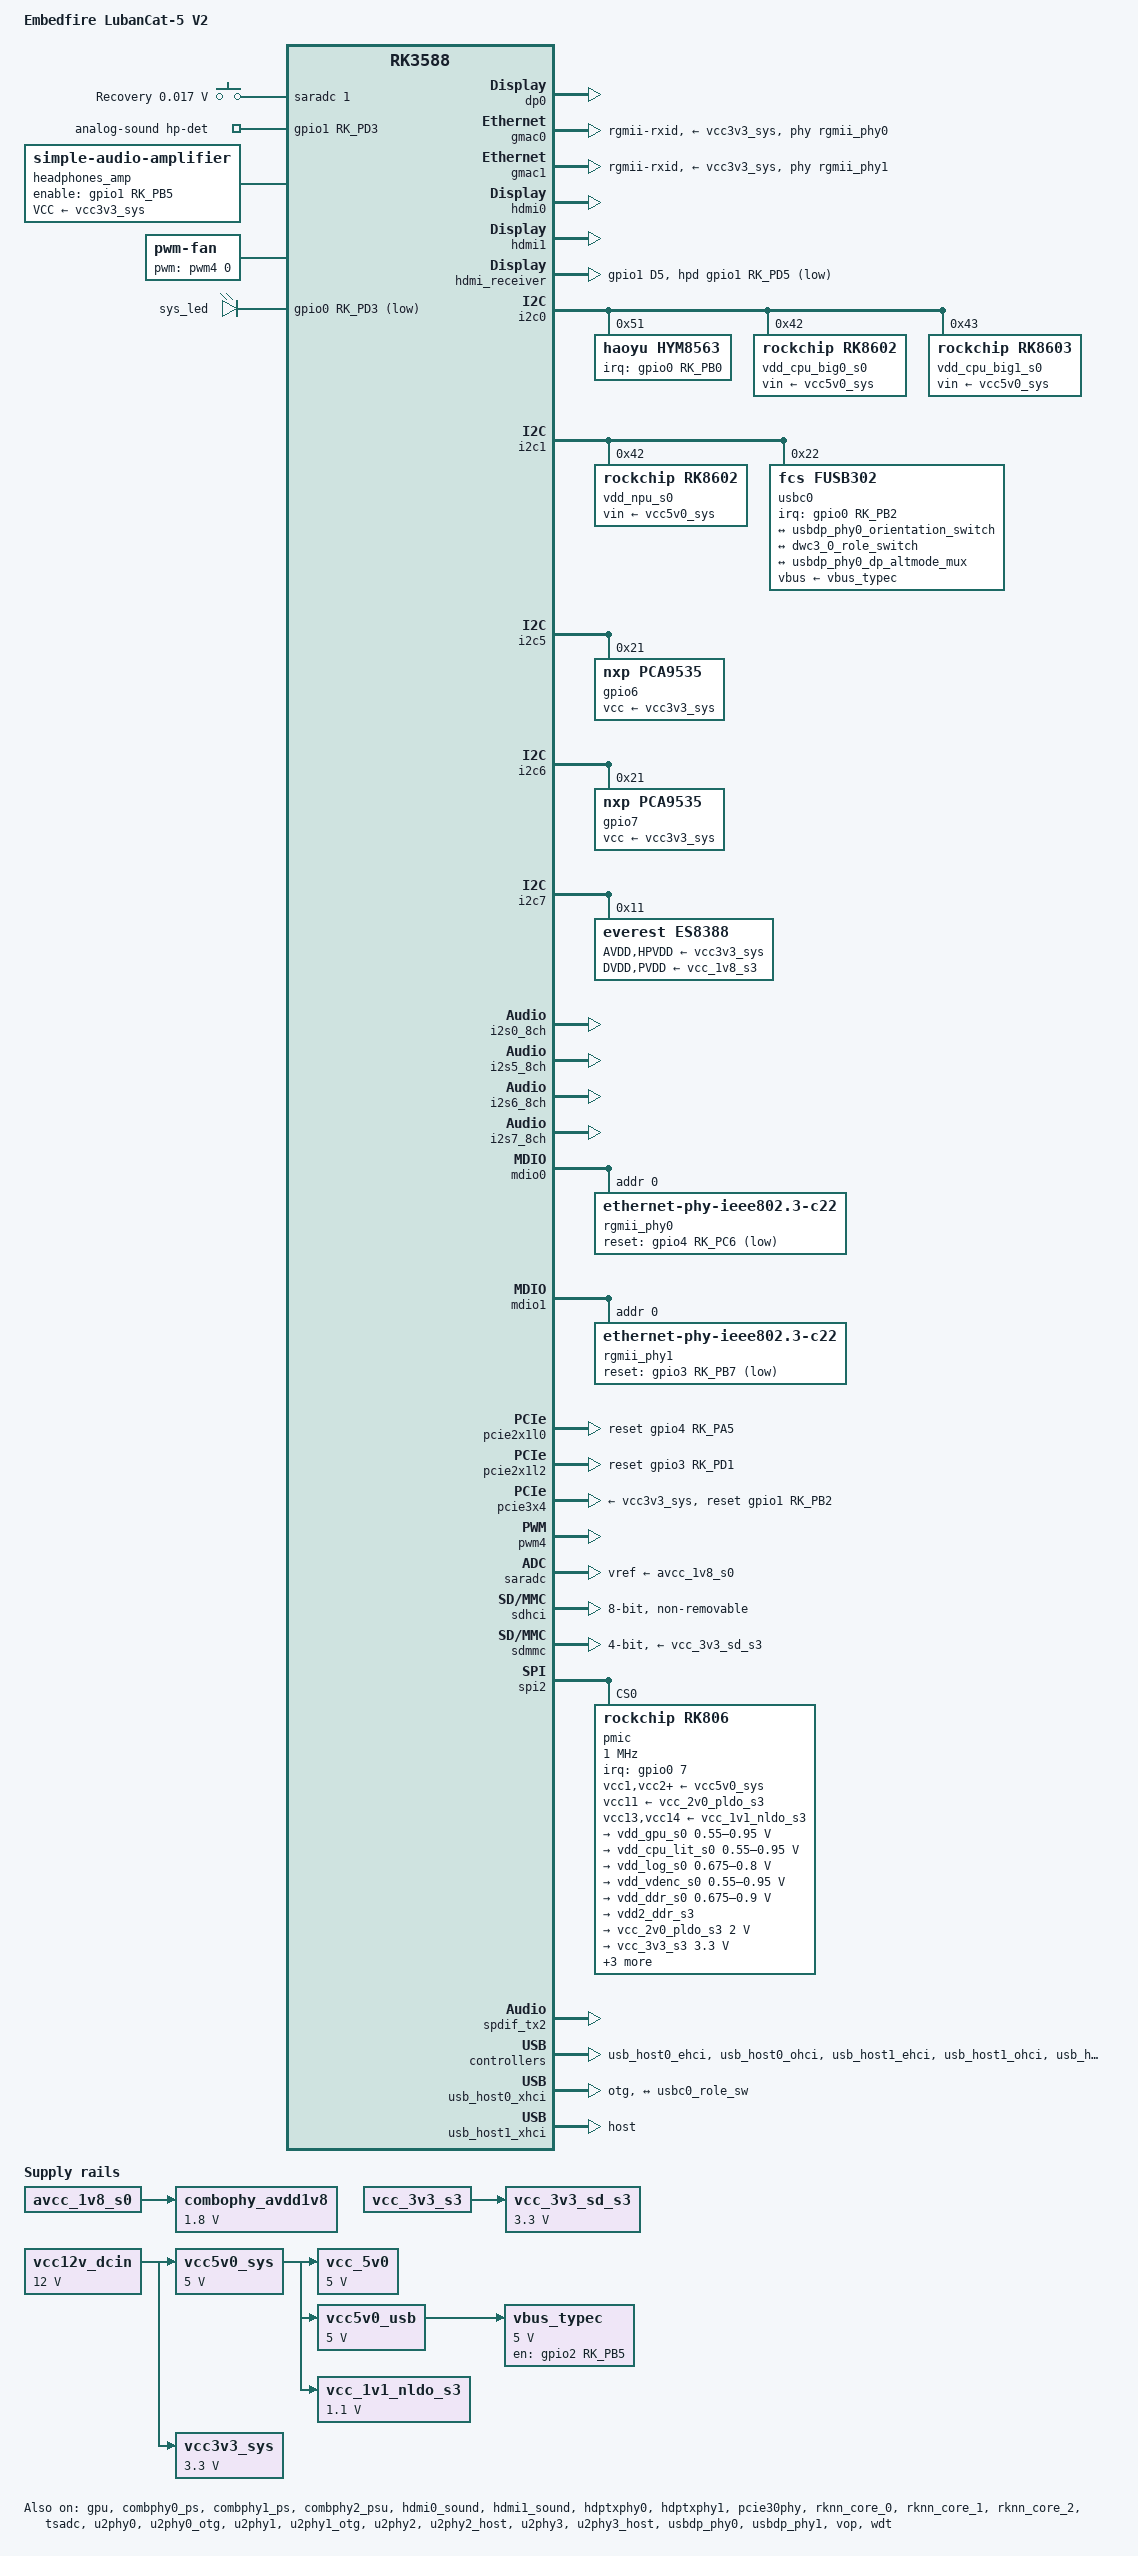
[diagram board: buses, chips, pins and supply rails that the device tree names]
// SPDX-License-Identifier: (GPL-2.0+ OR MIT)

/dts-v1/;

#include <dt-bindings/gpio/gpio.h>
#include <dt-bindings/input/input.h>
#include <dt-bindings/leds/common.h>
#include <dt-bindings/pinctrl/rockchip.h>
#include <dt-bindings/soc/rockchip,vop2.h>
#include <dt-bindings/usb/pd.h>
#include "rk3588.dtsi"

/ {
	model = "Embedfire LubanCat-5 V2";
	compatible = "embedfire,lubancat-5-v2", "rockchip,rk3588";

	aliases {
		ethernet0 = &gmac0;
		ethernet1 = &gmac1;
		mmc0 = &sdhci;
		mmc1 = &sdmmc;
	};

	chosen {
		stdout-path = "serial2:1500000n8";
	};

	adc-keys {
		compatible = "adc-keys";
		io-channels = <&saradc 1>;
		io-channel-names = "buttons";
		keyup-threshold-microvolt = <1800000>;
		poll-interval = <100>;

		button-recovery {
			label = "Recovery";
			linux,code = <KEY_VENDOR>;
			press-threshold-microvolt = <17000>;
		};
	};

	analog-sound {
		compatible = "simple-audio-card";
		pinctrl-names = "default";
		pinctrl-0 = <&hp_det>;
		simple-audio-card,aux-devs = <&headphones_amp>;
		simple-audio-card,format = "i2s";
		simple-audio-card,hp-det-gpios = <&gpio1 RK_PD3 GPIO_ACTIVE_HIGH>;
		simple-audio-card,mclk-fs = <256>;
		simple-audio-card,name = "rockchip-es8388";
		simple-audio-card,widgets =
			"Headphone", "Headphones",
			"Microphone", "Main Mic",
			"Microphone", "Headset Mic";
		simple-audio-card,routing =
			"Headphone Amp INL", "LOUT1",
			"Headphone Amp INR", "ROUT1",
			"Headphones", "Headphone Amp OUTL",
			"Headphones", "Headphone Amp OUTR",
			"LINPUT1", "Main Mic",
			"LINPUT2", "Main Mic",
			"RINPUT1", "Headset Mic",
			"RINPUT2", "Headset Mic";

		simple-audio-card,codec {
			sound-dai = <&es8388>;
		};

		simple-audio-card,cpu {
			sound-dai = <&i2s0_8ch>;
		};
	};

	headphones_amp: audio-amplifier {
		compatible = "simple-audio-amplifier";
		enable-gpios = <&gpio1 RK_PB5 GPIO_ACTIVE_HIGH>;
		pinctrl-names = "default";
		pinctrl-0 = <&hp_enable>;
		sound-name-prefix = "Headphone Amp";
		VCC-supply = <&vcc3v3_sys>;
	};

	fan: pwm-fan {
		compatible = "pwm-fan";
		#cooling-cells = <2>;
		cooling-levels = <0 100 150 200 255>;
		pwms = <&pwm4 0 50000 0>;
	};

	leds: leds {
		compatible = "gpio-leds";
		status = "okay";

		sys_led: sys-led {
			label = "sys_led";
			linux,default-trigger = "heartbeat";
			default-state = "on";
			gpios = <&gpio0 RK_PD3 GPIO_ACTIVE_LOW>;
			pinctrl-names = "default";
			pinctrl-0 = <&sys_led_pin>;
		};
	};

	vcc12v_dcin: vcc12v-dcin-regulator {
		compatible = "regulator-fixed";
		regulator-always-on;
		regulator-boot-on;
		regulator-min-microvolt = <12000000>;
		regulator-max-microvolt = <12000000>;
		regulator-name = "vcc12v_dcin";
	};

	vcc5v0_sys: vcc5v0-sys-regulator {
		compatible = "regulator-fixed";
		regulator-always-on;
		regulator-boot-on;
		regulator-min-microvolt = <5000000>;
		regulator-max-microvolt = <5000000>;
		regulator-name = "vcc5v0_sys";
		vin-supply = <&vcc12v_dcin>;
	};

	vcc3v3_sys: vcc3v3-sys-regulator {
		compatible = "regulator-fixed";
		regulator-always-on;
		regulator-boot-on;
		regulator-min-microvolt = <3300000>;
		regulator-max-microvolt = <3300000>;
		regulator-name = "vcc3v3_sys";
		vin-supply = <&vcc12v_dcin>;
	};

	vcc_5v0: vcc-5v0-regulator {
		compatible = "regulator-fixed";
		regulator-always-on;
		regulator-boot-on;
		regulator-min-microvolt = <5000000>;
		regulator-max-microvolt = <5000000>;
		regulator-name = "vcc_5v0";
		vin-supply = <&vcc5v0_sys>;
	};

	vcc5v0_usb: vcc5v0-usb-regulator {
		compatible = "regulator-fixed";
		regulator-always-on;
		regulator-boot-on;
		regulator-min-microvolt = <5000000>;
		regulator-max-microvolt = <5000000>;
		regulator-name = "vcc5v0_usb";
		vin-supply = <&vcc5v0_sys>;
	};

	combophy_avdd1v8: combophy-avdd1v8-regulator {
		compatible = "regulator-fixed";
		regulator-boot-on;
		regulator-min-microvolt = <1800000>;
		regulator-max-microvolt = <1800000>;
		regulator-name = "combophy_avdd1v8";
		vin-supply = <&avcc_1v8_s0>;
	};

	vcc_1v1_nldo_s3: vcc-1v1-nldo-s3-regulator {
		compatible = "regulator-fixed";
		regulator-always-on;
		regulator-boot-on;
		regulator-min-microvolt = <1100000>;
		regulator-max-microvolt = <1100000>;
		regulator-name = "vcc_1v1_nldo_s3";
		vin-supply = <&vcc5v0_sys>;
	};

	vcc_3v3_sd_s3: vcc-3v3-sd-s3-regulator {
		compatible = "regulator-fixed";
		regulator-always-on;
		regulator-boot-on;
		regulator-min-microvolt = <3300000>;
		regulator-max-microvolt = <3300000>;
		regulator-name = "vcc_3v3_sd_s3";
		vin-supply = <&vcc_3v3_s3>;
	};

	vbus_typec: vbus-typec-regulator {
		compatible = "regulator-fixed";
		enable-active-high;
		gpio = <&gpio2 RK_PB5 GPIO_ACTIVE_HIGH>;
		pinctrl-names = "default";
		pinctrl-0 = <&typec_vbus_en>;
		regulator-min-microvolt = <5000000>;
		regulator-max-microvolt = <5000000>;
		regulator-name = "vbus_typec";
		vin-supply = <&vcc5v0_usb>;
	};
};

&cpu_b0 {
	cpu-supply = <&vdd_cpu_big0_s0>;
};

&cpu_b1 {
	cpu-supply = <&vdd_cpu_big0_s0>;
};

&cpu_b2 {
	cpu-supply = <&vdd_cpu_big1_s0>;
};

&cpu_b3 {
	cpu-supply = <&vdd_cpu_big1_s0>;
};

&cpu_l0 {
	cpu-supply = <&vdd_cpu_lit_s0>;
};

&cpu_l1 {
	cpu-supply = <&vdd_cpu_lit_s0>;
};

&cpu_l2 {
	cpu-supply = <&vdd_cpu_lit_s0>;
};

&cpu_l3 {
	cpu-supply = <&vdd_cpu_lit_s0>;
};

&gpu {
	mali-supply = <&vdd_gpu_s0>;
	status = "okay";
};

&combphy0_ps {
	status = "okay";
};

&combphy1_ps {
	status = "okay";
};

&combphy2_psu {
	status = "okay";
};

&dp0 {
	status = "okay";
};

&dp0_in {
	dp0_in_vp1: endpoint {
		remote-endpoint = <&vp1_out_dp0>;
	};
};

&gmac0 {
	clock_in_out = "output";
	phy-handle = <&rgmii_phy0>;
	phy-mode = "rgmii-rxid";
	phy-supply = <&vcc3v3_sys>;
	pinctrl-names = "default";
	pinctrl-0 = <&gmac0_miim
		     &gmac0_tx_bus2
		     &gmac0_rx_bus2
		     &gmac0_rgmii_clk
		     &gmac0_rgmii_bus>;
	rx_delay = <0x10>;
	tx_delay = <0x20>;
	status = "okay";
};

&gmac1 {
	clock_in_out = "output";
	phy-handle = <&rgmii_phy1>;
	phy-mode = "rgmii-rxid";
	phy-supply = <&vcc3v3_sys>;
	pinctrl-names = "default";
	pinctrl-0 = <&gmac1_miim
		     &gmac1_tx_bus2
		     &gmac1_rx_bus2
		     &gmac1_rgmii_clk
		     &gmac1_rgmii_bus>;
	rx_delay = <0x10>;
	tx_delay = <0x20>;
	status = "okay";
};

&hdmi0 {
	enable-gpios = <&gpio1 RK_PC4 GPIO_ACTIVE_HIGH>;
	status = "okay";
};

&hdmi0_in {
	hdmi0_in_vp0: endpoint {
		remote-endpoint = <&vp0_out_hdmi0>;
	};
};

&hdmi0_sound {
	status = "okay";
};

&hdmi1 {
	enable-gpios = <&gpio1 RK_PC6 GPIO_ACTIVE_HIGH>;
	status = "okay";
};

&hdmi1_in {
	hdmi1_in_vp2: endpoint {
		remote-endpoint = <&vp2_out_hdmi1>;
	};
};

&hdmi1_sound {
	status = "okay";
};

&hdmi_receiver {
	hpd-gpios = <&gpio1 RK_PD5 GPIO_ACTIVE_LOW>;
	pinctrl-names = "default";
	pinctrl-0 = <&hdmim0_rx_cec &hdmim1_rx_hpdin &hdmim1_rx_scl &hdmim1_rx_sda &hdmirx_det>;
	status = "okay";
};

&hdptxphy0 {
	status = "okay";
};

&hdptxphy1 {
	status = "okay";
};

&i2c0 {
	pinctrl-names = "default";
	pinctrl-0 = <&i2c0m2_xfer>;
	status = "okay";

	hym8563: rtc@51 {
		compatible = "haoyu,hym8563";
		reg = <0x51>;
		#clock-cells = <0>;
		clock-output-names = "hym8563";
		interrupt-parent = <&gpio0>;
		interrupts = <RK_PB0 IRQ_TYPE_LEVEL_LOW>;
		pinctrl-names = "default";
		pinctrl-0 = <&hym8563_int>;
		wakeup-source;
	};

	vdd_cpu_big0_s0: regulator@42 {
		compatible = "rockchip,rk8602";
		reg = <0x42>;
		fcs,suspend-voltage-selector = <1>;
		regulator-always-on;
		regulator-boot-on;
		regulator-max-microvolt = <1050000>;
		regulator-min-microvolt = <550000>;
		regulator-name = "vdd_cpu_big0_s0";
		regulator-ramp-delay = <2300>;
		vin-supply = <&vcc5v0_sys>;

		regulator-state-mem {
			regulator-off-in-suspend;
		};
	};

	vdd_cpu_big1_s0: regulator@43 {
		compatible = "rockchip,rk8603";
		reg = <0x43>;
		fcs,suspend-voltage-selector = <1>;
		regulator-always-on;
		regulator-boot-on;
		regulator-max-microvolt = <1050000>;
		regulator-min-microvolt = <550000>;
		regulator-name = "vdd_cpu_big1_s0";
		regulator-ramp-delay = <2300>;
		vin-supply = <&vcc5v0_sys>;

		regulator-state-mem {
			regulator-off-in-suspend;
		};
	};
};

&i2c1 {
	pinctrl-names = "default";
	pinctrl-0 = <&i2c1m2_xfer>;
	status = "okay";

	vdd_npu_s0: regulator@42 {
		compatible = "rockchip,rk8602";
		reg = <0x42>;
		fcs,suspend-voltage-selector = <1>;
		regulator-name = "vdd_npu_s0";
		regulator-boot-on;
		regulator-min-microvolt = <550000>;
		regulator-max-microvolt = <950000>;
		regulator-ramp-delay = <2300>;
		vin-supply = <&vcc5v0_sys>;

		regulator-state-mem {
			regulator-off-in-suspend;
		};
	};

	usbc0: typec-portc@22 {
		compatible = "fcs,fusb302";
		reg = <0x22>;
		interrupt-parent = <&gpio0>;
		interrupts = <RK_PB2 IRQ_TYPE_LEVEL_LOW>;
		pinctrl-names = "default";
		pinctrl-0 = <&fusb302_int>;
		vbus-supply = <&vbus_typec>;
		status = "okay";

		usb_con: connector {
			compatible = "usb-c-connector";
			data-role = "dual";
			label = "USB-C";
			op-sink-microwatt = <1000000>;
			power-role = "dual";
			sink-pdos =
				<PDO_FIXED(5000, 1000, PDO_FIXED_USB_COMM)>;
			source-pdos =
				<PDO_FIXED(5000, 3000, PDO_FIXED_USB_COMM)>;
			try-power-role = "sink";

			ports {
				#address-cells = <1>;
				#size-cells = <0>;

				port@0 {
					reg = <0>;
					usbc0_orien_sw: endpoint {
						remote-endpoint = <&usbdp_phy0_orientation_switch>;
					};
				};

				port@1 {
					reg = <1>;
					usbc0_role_sw: endpoint {
						remote-endpoint = <&dwc3_0_role_switch>;
					};
				};

				port@2 {
					reg = <2>;
					dp_altmode_mux: endpoint {
						remote-endpoint = <&usbdp_phy0_dp_altmode_mux>;
					};
				};
			};
		};
	};
};

&i2c5 {
	pinctrl-names = "default";
	pinctrl-0 = <&i2c5m2_xfer>;
	status = "okay";

	gpio6: gpio@21 {
		compatible = "nxp,pca9535";
		reg = <0x21>;
		gpio-controller;
		#gpio-cells = <2>;
		vcc-supply = <&vcc3v3_sys>;
		status = "okay";
	};
};

&i2c6 {
	pinctrl-names = "default";
	pinctrl-0 = <&i2c6m0_xfer>;
	status = "okay";

	gpio7: gpio@21 {
		compatible = "nxp,pca9535";
		reg = <0x21>;
		gpio-controller;
		#gpio-cells = <2>;
		vcc-supply = <&vcc3v3_sys>;
		status = "okay";
	};
};

&i2c7 {
	pinctrl-names = "default";
	pinctrl-0 = <&i2c7m0_xfer>;
	status = "okay";

	es8388: audio-codec@11 {
		compatible = "everest,es8388", "everest,es8328";
		reg = <0x11>;
		AVDD-supply = <&vcc3v3_sys>;
		DVDD-supply = <&vcc_1v8_s3>;
		HPVDD-supply = <&vcc3v3_sys>;
		PVDD-supply = <&vcc_1v8_s3>;
		assigned-clocks = <&cru I2S0_8CH_MCLKOUT>;
		assigned-clock-rates = <12288000>;
		clocks = <&cru I2S0_8CH_MCLKOUT>;
		clock-names = "mclk";
		#sound-dai-cells = <0>;
		status = "okay";
	};
};

&i2s0_8ch {
	pinctrl-0 = <&i2s0_lrck
		     &i2s0_mclk
		     &i2s0_sclk
		     &i2s0_sdi0
		     &i2s0_sdo0>;
	status = "okay";
};

&i2s5_8ch {
	status = "okay";
};

&i2s6_8ch {
	status = "okay";
};

&i2s7_8ch {
	status = "okay";
};

&mdio0 {
	rgmii_phy0: ethernet-phy@0 {
		compatible = "ethernet-phy-ieee802.3-c22";
		reg = <0x0>;
		reset-assert-us = <20000>;
		reset-deassert-us = <100000>;
		reset-gpios = <&gpio4 RK_PC6 GPIO_ACTIVE_LOW>;
	};
};

&mdio1 {
	rgmii_phy1: ethernet-phy@0 {
		compatible = "ethernet-phy-ieee802.3-c22";
		reg = <0x0>;
		reset-assert-us = <20000>;
		reset-deassert-us = <100000>;
		reset-gpios = <&gpio3 RK_PB7 GPIO_ACTIVE_LOW>;
	};
};

&pcie2x1l0 {
	reset-gpios = <&gpio4 RK_PA5 GPIO_ACTIVE_HIGH>;
	status = "okay";
};

&pcie2x1l2 {
	reset-gpios = <&gpio3 RK_PD1 GPIO_ACTIVE_HIGH>;
	status = "okay";
};

&pcie30phy {
	data-lanes = <4>;
	status = "okay";
};

&pd_gpu {
	domain-supply = <&vdd_gpu_s0>;
};

&pd_npu {
	domain-supply = <&vdd_npu_s0>;
};

&pcie3x4 {
	reset-gpios = <&gpio1 RK_PB2 GPIO_ACTIVE_HIGH>;
	vpcie3v3-supply = <&vcc3v3_sys>;
	status = "okay";
};

&pwm4 {
	pinctrl-0 = <&pwm4m0_pins>;
	status = "okay";
};

&rknn_core_0 {
	npu-supply = <&vdd_npu_s0>;
	sram-supply = <&vdd_npu_s0>;
	status = "okay";
};

&rknn_core_1 {
	npu-supply = <&vdd_npu_s0>;
	sram-supply = <&vdd_npu_s0>;
	status = "okay";
};

&rknn_core_2 {
	npu-supply = <&vdd_npu_s0>;
	sram-supply = <&vdd_npu_s0>;
	status = "okay";
};

&rknn_mmu_0 {
	status = "okay";
};

&rknn_mmu_1 {
	status = "okay";
};

&rknn_mmu_2 {
	status = "okay";
};

&saradc {
	vref-supply = <&avcc_1v8_s0>;
	status = "okay";
};

&sdhci {
	bus-width = <8>;
	no-sdio;
	no-sd;
	non-removable;
	max-frequency = <200000000>;
	mmc-hs400-1_8v;
	mmc-hs400-enhanced-strobe;
	status = "okay";
};

&sdmmc {
	bus-width = <4>;
	cap-sd-highspeed;
	disable-wp;
	max-frequency = <200000000>;
	no-mmc;
	no-sdio;
	pinctrl-names = "default";
	pinctrl-0 = <&sdmmc_bus4 &sdmmc_clk &sdmmc_cmd &sdmmc_det>;
	sd-uhs-sdr104;
	vmmc-supply = <&vcc_3v3_sd_s3>;
	vqmmc-supply = <&vccio_sd_s0>;
	status = "okay";
};

&spi2 {
	assigned-clocks = <&cru CLK_SPI2>;
	assigned-clock-rates = <200000000>;
	num-cs = <1>;
	pinctrl-names = "default";
	pinctrl-0 = <&spi2m2_cs0 &spi2m2_pins>;
	status = "okay";

	pmic@0 {
		compatible = "rockchip,rk806";
		reg = <0x0>;
		interrupt-parent = <&gpio0>;
		interrupts = <7 IRQ_TYPE_LEVEL_LOW>;
		pinctrl-names = "default";
		pinctrl-0 = <&pmic_pins>, <&rk806_dvs1_null>,
			    <&rk806_dvs2_null>, <&rk806_dvs3_null>;
		spi-max-frequency = <1000000>;
		system-power-controller;

		vcc1-supply = <&vcc5v0_sys>;
		vcc2-supply = <&vcc5v0_sys>;
		vcc3-supply = <&vcc5v0_sys>;
		vcc4-supply = <&vcc5v0_sys>;
		vcc5-supply = <&vcc5v0_sys>;
		vcc6-supply = <&vcc5v0_sys>;
		vcc7-supply = <&vcc5v0_sys>;
		vcc8-supply = <&vcc5v0_sys>;
		vcc9-supply = <&vcc5v0_sys>;
		vcc10-supply = <&vcc5v0_sys>;
		vcc11-supply = <&vcc_2v0_pldo_s3>;
		vcc12-supply = <&vcc5v0_sys>;
		vcc13-supply = <&vcc_1v1_nldo_s3>;
		vcc14-supply = <&vcc_1v1_nldo_s3>;
		vcca-supply = <&vcc5v0_sys>;

		gpio-controller;
		#gpio-cells = <2>;

		rk806_dvs1_null: dvs1-null-pins {
			pins = "gpio_pwrctrl1";
			function = "pin_fun0";
		};

		rk806_dvs2_null: dvs2-null-pins {
			pins = "gpio_pwrctrl2";
			function = "pin_fun0";
		};

		rk806_dvs3_null: dvs3-null-pins {
			pins = "gpio_pwrctrl3";
			function = "pin_fun0";
		};

		regulators {
			vdd_gpu_s0: vdd_gpu_mem_s0: dcdc-reg1 {
				regulator-boot-on;
				regulator-min-microvolt = <550000>;
				regulator-max-microvolt = <950000>;
				regulator-ramp-delay = <12500>;
				regulator-name = "vdd_gpu_s0";
				regulator-enable-ramp-delay = <400>;

				regulator-state-mem {
					regulator-off-in-suspend;
				};
			};

			vdd_cpu_lit_s0: vdd_cpu_lit_mem_s0: dcdc-reg2 {
				regulator-always-on;
				regulator-boot-on;
				regulator-min-microvolt = <550000>;
				regulator-max-microvolt = <950000>;
				regulator-ramp-delay = <12500>;
				regulator-name = "vdd_cpu_lit_s0";

				regulator-state-mem {
					regulator-off-in-suspend;
				};
			};

			vdd_log_s0: dcdc-reg3 {
				regulator-always-on;
				regulator-boot-on;
				regulator-min-microvolt = <675000>;
				regulator-max-microvolt = <800000>;
				regulator-ramp-delay = <12500>;
				regulator-name = "vdd_log_s0";

				regulator-state-mem {
					regulator-off-in-suspend;
					regulator-suspend-microvolt = <750000>;
				};
			};

			vdd_vdenc_s0: vdd_vdenc_mem_s0: dcdc-reg4 {
				regulator-always-on;
				regulator-boot-on;
				regulator-min-microvolt = <550000>;
				regulator-max-microvolt = <950000>;
				regulator-ramp-delay = <12500>;
				regulator-name = "vdd_vdenc_s0";

				regulator-state-mem {
					regulator-off-in-suspend;
				};
			};

			vdd_ddr_s0: dcdc-reg5 {
				regulator-always-on;
				regulator-boot-on;
				regulator-min-microvolt = <675000>;
				regulator-max-microvolt = <900000>;
				regulator-ramp-delay = <12500>;
				regulator-name = "vdd_ddr_s0";

				regulator-state-mem {
					regulator-off-in-suspend;
					regulator-suspend-microvolt = <850000>;
				};
			};

			vdd2_ddr_s3: dcdc-reg6 {
				regulator-always-on;
				regulator-boot-on;
				regulator-name = "vdd2_ddr_s3";

				regulator-state-mem {
					regulator-on-in-suspend;
				};
			};

			vcc_2v0_pldo_s3: dcdc-reg7 {
				regulator-always-on;
				regulator-boot-on;
				regulator-min-microvolt = <2000000>;
				regulator-max-microvolt = <2000000>;
				regulator-ramp-delay = <12500>;
				regulator-name = "vdd_2v0_pldo_s3";

				regulator-state-mem {
					regulator-on-in-suspend;
					regulator-suspend-microvolt = <2000000>;
				};
			};

			vcc_3v3_s3: dcdc-reg8 {
				regulator-always-on;
				regulator-boot-on;
				regulator-min-microvolt = <3300000>;
				regulator-max-microvolt = <3300000>;
				regulator-name = "vcc_3v3_s3";

				regulator-state-mem {
					regulator-on-in-suspend;
					regulator-suspend-microvolt = <3300000>;
				};
			};

			vddq_ddr_s0: dcdc-reg9 {
				regulator-always-on;
				regulator-boot-on;
				regulator-name = "vddq_ddr_s0";

				regulator-state-mem {
					regulator-off-in-suspend;
				};
			};

			vcc_1v8_s3: dcdc-reg10 {
				regulator-always-on;
				regulator-boot-on;
				regulator-min-microvolt = <1800000>;
				regulator-max-microvolt = <1800000>;
				regulator-name = "vcc_1v8_s3";

				regulator-state-mem {
					regulator-on-in-suspend;
					regulator-suspend-microvolt = <1800000>;
				};
			};

			avcc_1v8_s0: pldo-reg1 {
				regulator-always-on;
				regulator-boot-on;
				regulator-min-microvolt = <1800000>;
				regulator-max-microvolt = <1800000>;
				regulator-name = "avcc_1v8_s0";

				regulator-state-mem {
					regulator-off-in-suspend;
					regulator-suspend-microvolt = <1800000>;
				};
			};

			vcc_1v8_s0: pldo-reg2 {
				regulator-always-on;
				regulator-boot-on;
				regulator-min-microvolt = <1800000>;
				regulator-max-microvolt = <1800000>;
				regulator-name = "vcc_1v8_s0";

				regulator-state-mem {
					regulator-off-in-suspend;
					regulator-suspend-microvolt = <1800000>;
				};
			};

			avdd_1v2_s0: pldo-reg3 {
				regulator-always-on;
				regulator-boot-on;
				regulator-min-microvolt = <1200000>;
				regulator-max-microvolt = <1200000>;
				regulator-name = "avdd_1v2_s0";

				regulator-state-mem {
					regulator-off-in-suspend;
				};
			};

			vcc_3v3_s0: pldo-reg4 {
				regulator-always-on;
				regulator-boot-on;
				regulator-min-microvolt = <3300000>;
				regulator-max-microvolt = <3300000>;
				regulator-ramp-delay = <12500>;
				regulator-name = "vcc_3v3_s0";

				regulator-state-mem {
					regulator-off-in-suspend;
				};
			};

			vccio_sd_s0: pldo-reg5 {
				regulator-always-on;
				regulator-boot-on;
				regulator-min-microvolt = <1800000>;
				regulator-max-microvolt = <3300000>;
				regulator-ramp-delay = <12500>;
				regulator-name = "vccio_sd_s0";

				regulator-state-mem {
					regulator-off-in-suspend;
				};
			};

			pldo6_s3: pldo-reg6 {
				regulator-always-on;
				regulator-boot-on;
				regulator-min-microvolt = <1800000>;
				regulator-max-microvolt = <1800000>;
				regulator-name = "pldo6_s3";

				regulator-state-mem {
					regulator-on-in-suspend;
					regulator-suspend-microvolt = <1800000>;
				};
			};

			vdd_0v75_s3: nldo-reg1 {
				regulator-always-on;
				regulator-boot-on;
				regulator-min-microvolt = <750000>;
				regulator-max-microvolt = <750000>;
				regulator-name = "vdd_0v75_s3";

				regulator-state-mem {
					regulator-on-in-suspend;
					regulator-suspend-microvolt = <750000>;
				};
			};

			vdd_ddr_pll_s0: nldo-reg2 {
				regulator-always-on;
				regulator-boot-on;
				regulator-min-microvolt = <850000>;
				regulator-max-microvolt = <850000>;
				regulator-name = "vdd_ddr_pll_s0";

				regulator-state-mem {
					regulator-off-in-suspend;
					regulator-suspend-microvolt = <850000>;
				};
			};

			avdd_0v75_s0: nldo-reg3 {
				regulator-always-on;
				regulator-boot-on;
				regulator-min-microvolt = <837500>;
				regulator-max-microvolt = <837500>;
				regulator-name = "avdd_0v75_s0";

				regulator-state-mem {
					regulator-off-in-suspend;
				};
			};

			vdd_0v85_s0: nldo-reg4 {
				regulator-always-on;
				regulator-boot-on;
				regulator-min-microvolt = <850000>;
				regulator-max-microvolt = <850000>;
				regulator-name = "vdd_0v85_s0";

				regulator-state-mem {
					regulator-off-in-suspend;
				};
			};

			vdd_0v75_s0: nldo-reg5 {
				regulator-always-on;
				regulator-boot-on;
				regulator-min-microvolt = <750000>;
				regulator-max-microvolt = <750000>;
				regulator-name = "vdd_0v75_s0";

				regulator-state-mem {
					regulator-off-in-suspend;
				};
			};
		};
	};
};

&spdif_tx2 {
	status = "okay";
};

&tsadc {
	status = "okay";
};

&u2phy0 {
	status = "okay";
};

&u2phy0_otg {
	status = "okay";
};

&u2phy1 {
	status = "okay";
};

&u2phy1_otg {
	status = "okay";
};

&u2phy2 {
	status = "okay";
};

&u2phy2_host {
	phy-supply = <&vcc5v0_usb>;
	status = "okay";
};

&u2phy3 {
	status = "okay";
};

&u2phy3_host {
	phy-supply = <&vcc5v0_usb>;
	status = "okay";
};

&usb_host0_ehci {
	status = "okay";
};

&usb_host0_ohci {
	status = "okay";
};

&usb_host0_xhci {
	dr_mode = "otg";
	usb-role-switch;
	status = "okay";

	port {
		#address-cells = <1>;
		#size-cells = <0>;

		dwc3_0_role_switch: endpoint@0 {
			reg = <0>;
			remote-endpoint = <&usbc0_role_sw>;
		};
	};
};

&usb_host1_ehci {
	status = "okay";
};

&usb_host1_ohci {
	status = "okay";
};

&usb_host1_xhci {
	dr_mode = "host";
	status = "okay";
};

&usb_host2_xhci {
	status = "okay";
};

&usbdp_phy0 {
	orientation-switch;
	sbu1-dc-gpios = <&gpio1 RK_PA0 GPIO_ACTIVE_HIGH>;
	sbu2-dc-gpios = <&gpio1 RK_PA1 GPIO_ACTIVE_HIGH>;
	svid = <0xff01>;
	status = "okay";

	port {
		#address-cells = <1>;
		#size-cells = <0>;

		usbdp_phy0_orientation_switch: endpoint@0 {
			reg = <0>;
			remote-endpoint = <&usbc0_orien_sw>;
		};

		usbdp_phy0_dp_altmode_mux: endpoint@1 {
			reg = <1>;
			remote-endpoint = <&dp_altmode_mux>;
		};
	};
};

&usbdp_phy1 {
	status = "okay";
};

&vop {
	status = "okay";
};

&vop_mmu {
	status = "okay";
};

&vp0 {
	vp0_out_hdmi0: endpoint@ROCKCHIP_VOP2_EP_HDMI0 {
		reg = <ROCKCHIP_VOP2_EP_HDMI0>;
		remote-endpoint = <&hdmi0_in_vp0>;
	};
};

&vp1 {
	vp1_out_dp0: endpoint@ROCKCHIP_VOP2_EP_DP0 {
		reg = <ROCKCHIP_VOP2_EP_DP0>;
		remote-endpoint = <&dp0_in_vp1>;
	};
};

&vp2 {
	vp2_out_hdmi1: endpoint@ROCKCHIP_VOP2_EP_HDMI1 {
		reg = <ROCKCHIP_VOP2_EP_HDMI1>;
		remote-endpoint = <&hdmi1_in_vp2>;
	};
};

&wdt {
	status = "okay";
};

&pinctrl {
	headphone {
		hp_det: hp-det {
			rockchip,pins = <1 RK_PD3 RK_FUNC_GPIO &pcfg_pull_none>;
		};

		hp_enable: hp-enable {
			rockchip,pins = <1 RK_PB5 RK_FUNC_GPIO &pcfg_pull_none>;
		};
	};

	hym8563 {
		hym8563_int: hym8563-int {
			rockchip,pins = <0 RK_PB0 RK_FUNC_GPIO &pcfg_pull_up>;
		};
	};

	leds {
		sys_led_pin: sys-led-pin {
			rockchip,pins = <0 RK_PD3 RK_FUNC_GPIO &pcfg_pull_none>;
		};
	};

	usb-typec {
		fusb302_int: fusb302-int {
			rockchip,pins = <0 RK_PB2 RK_FUNC_GPIO &pcfg_pull_up>;
		};

		typec_vbus_en: typec-vbus-en {
			rockchip,pins = <2 RK_PB5 RK_FUNC_GPIO &pcfg_pull_none>;
		};
	};

	hdmirx {
		hdmirx_det: hdmirx-det {
			rockchip,pins = <1 RK_PD5 RK_FUNC_GPIO &pcfg_pull_up>;
		};
	};

	pcie {
		pcie_disable_pin: pcie-disable-pin {
			rockchip,pins = <3 RK_PC1 RK_FUNC_GPIO &pcfg_pull_up>;
		};
	};
};
